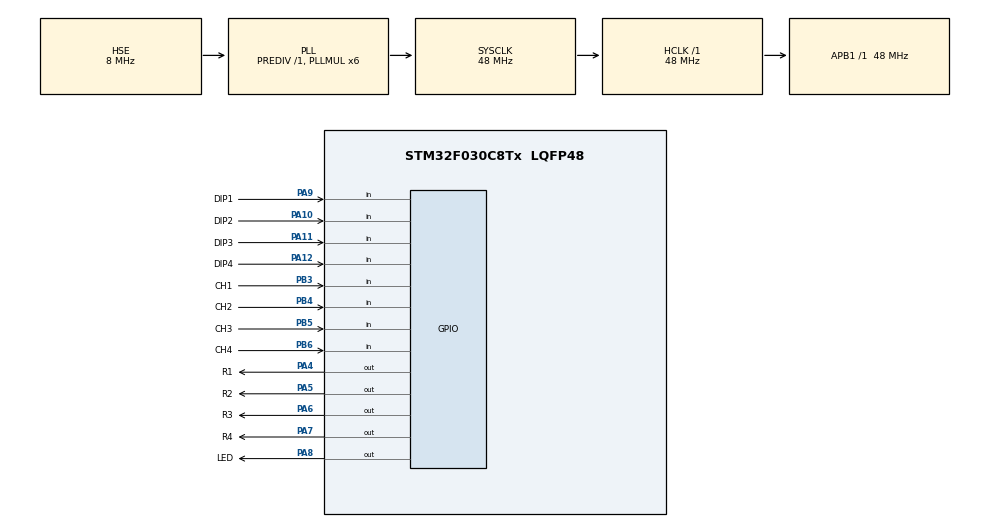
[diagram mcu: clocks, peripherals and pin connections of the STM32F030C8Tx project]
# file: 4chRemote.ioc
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IWDG.Prescaler=IWDG_PRESCALER_128
IWDG.Reload=1561
IWDG.Window=2500
Mcu.Family=STM32F0
Mcu.Name=STM32F030C8Tx
Mcu.Package=LQFP48
NVIC.TIM1_BRK_UP_TRG_COM_IRQn=true\:0\:0\:false\:false\:true\:true\:true\:true
PA10.GPIO_Label=DIP2
PA10.GPIO_PuPd=GPIO_PULLUP
PA10.Signal=GPIO_Input
PA11.GPIO_Label=DIP3
PA11.GPIO_PuPd=GPIO_PULLUP
PA11.Signal=GPIO_Input
PA12.GPIO_Label=DIP4
PA12.GPIO_PuPd=GPIO_PULLUP
PA12.Signal=GPIO_Input
PA13.Mode=Serial_Wire
PA13.Signal=SYS_SWDIO
PA14.Mode=Serial_Wire
PA14.Signal=SYS_SWCLK
PA4.GPIO_Label=R1
PA4.Signal=GPIO_Output
PA5.GPIO_Label=R2
PA5.Signal=GPIO_Output
PA6.GPIO_Label=R3
PA6.Signal=GPIO_Output
PA7.GPIO_Label=R4
PA7.Signal=GPIO_Output
PA8.GPIO_Label=LED
PA8.Signal=GPIO_Output
PA9.GPIO_Label=DIP1
PA9.GPIO_PuPd=GPIO_PULLUP
PA9.Signal=GPIO_Input
PB3.GPIO_Label=CH1
PB3.Signal=GPIO_Input
PB4.GPIO_Label=CH2
PB4.Signal=GPIO_Input
PB5.GPIO_Label=CH3
PB5.Signal=GPIO_Input
PB6.GPIO_Label=CH4
PB6.Signal=GPIO_Input
PF0-OSC_IN.Mode=HSE-External-Oscillator
PF0-OSC_IN.Signal=RCC_OSC_IN
PF1-OSC_OUT.Mode=HSE-External-Oscillator
PF1-OSC_OUT.Signal=RCC_OSC_OUT
ProjectManager.HeapSize=0x200
ProjectManager.StackSize=0x400
ProjectManager.TargetToolchain=STM32CubeIDE
RCC.AHBFreq_Value=48000000
RCC.APB1Freq_Value=48000000
RCC.APB1TimFreq_Value=48000000
RCC.HCLKFreq_Value=48000000
RCC.PLLMUL=RCC_PLL_MUL6
RCC.PLLSourceVirtual=RCC_PLLSOURCE_HSE
RCC.SYSCLKFreq_VALUE=48000000
RCC.SYSCLKSource=RCC_SYSCLKSOURCE_PLLCLK
TIM1.AutoReloadPreload=TIM_AUTORELOAD_PRELOAD_ENABLE
TIM1.Period=63999
TIM1.Prescaler=749
VP_IWDG_VS_IWDG.Mode=IWDG_Activate
VP_TIM1_VS_ClockSourceINT.Mode=Internal
board=custom

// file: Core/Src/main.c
/* USER CODE BEGIN Header */
/**
 ******************************************************************************
 * @file           : main.c
 * @brief          : Main program body
 ******************************************************************************
 * @attention
 *
 * Copyright (c) 2023 STMicroelectronics.
 * All rights reserved.
 *
 * This software is licensed under terms that can be found in the LICENSE file
 * in the root directory of this software component.
 * If no LICENSE file comes with this software, it is provided AS-IS.
 *
 ******************************************************************************
 */
/* USER CODE END Header */
#include "main.h"

IWDG_HandleTypeDef hiwdg;

TIM_HandleTypeDef htim1;

/* USER CODE BEGIN PV */
int on = 0;
int off = 1;
char lastMode = 16;
char timerStarted = 0;
int timerCounter = 0;
int delay = 0;
/* USER CODE END PV */

void SystemClock_Config(void);
static void MX_GPIO_Init(void);
static void MX_IWDG_Init(void);
static void MX_TIM1_Init(void);
/* USER CODE BEGIN PFP */
void mode0();
void mode1();
void mode2();
void mode3();
void mode4();
void mode5();
void mode6();
void mode7();
void mode8();
void mode9();
/* USER CODE END PFP */

int main(void)
{

  /* MCU Configuration--------------------------------------------------------*/

  /* Reset of all peripherals, Initializes the Flash interface and the Systick. */
  HAL_Init();

  /* Configure the system clock */
  SystemClock_Config();

  /* Initialize all configured peripherals */
  MX_GPIO_Init();
  MX_IWDG_Init();
  MX_TIM1_Init();
  /* USER CODE BEGIN 2 */
HAL_GPIO_WritePin(LED_GPIO_Port, LED_Pin, GPIO_PIN_SET);
HAL_Delay(500);
HAL_GPIO_WritePin(LED_GPIO_Port, LED_Pin, GPIO_PIN_RESET);
  /* USER CODE END 2 */

  /* Infinite loop */
	while (1) {

    /* USER CODE BEGIN 3 */
		HAL_IWDG_Refresh(&hiwdg);

		char Dip1 = !HAL_GPIO_ReadPin(DIP1_GPIO_Port, DIP1_Pin);
		char Dip2 = !HAL_GPIO_ReadPin(DIP2_GPIO_Port, DIP2_Pin);
		char Dip3 = !HAL_GPIO_ReadPin(DIP3_GPIO_Port, DIP3_Pin);
		char Dip4 = !HAL_GPIO_ReadPin(DIP4_GPIO_Port, DIP4_Pin);

		char mode = ((Dip1<<3) + (Dip2<<2) + (Dip3<<1) + Dip4);

		switch (mode) {
			case 0:
				mode0();
				break;

			case 1:
				mode1();
				break;

			case 2:
				mode2();
				break;

			case 3:
				mode3();
				break;

			case 4:
				mode4();
				break;

			case 5:
				mode5();
				break;

			case 6:
				mode6();
				break;

			case 7:
				mode7();
				break;

			case 8:
				mode8(); // timer modus lmp
				break;

			case 9:
				mode9(); // timer modus lmp
				break;
			default:
				mode0();
				break;
		}
	}
  /* USER CODE END 3 */
}

void SystemClock_Config(void)
{
  RCC_OscInitTypeDef RCC_OscInitStruct = {0};
  RCC_ClkInitTypeDef RCC_ClkInitStruct = {0};

  /** Initializes the RCC Oscillators according to the specified parameters
  * in the RCC_OscInitTypeDef structure.
  */
  RCC_OscInitStruct.OscillatorType = RCC_OSCILLATORTYPE_LSI|RCC_OSCILLATORTYPE_HSE;
  RCC_OscInitStruct.HSEState = RCC_HSE_ON;
  RCC_OscInitStruct.LSIState = RCC_LSI_ON;
  RCC_OscInitStruct.PLL.PLLState = RCC_PLL_ON;
  RCC_OscInitStruct.PLL.PLLSource = RCC_PLLSOURCE_HSE;
  RCC_OscInitStruct.PLL.PLLMUL = RCC_PLL_MUL6;
  RCC_OscInitStruct.PLL.PREDIV = RCC_PREDIV_DIV1;
  if (HAL_RCC_OscConfig(&RCC_OscInitStruct) != HAL_OK)
  {
    Error_Handler();
  }

  /** Initializes the CPU, AHB and APB buses clocks
  */
  RCC_ClkInitStruct.ClockType = RCC_CLOCKTYPE_HCLK|RCC_CLOCKTYPE_SYSCLK
                              |RCC_CLOCKTYPE_PCLK1;
  RCC_ClkInitStruct.SYSCLKSource = RCC_SYSCLKSOURCE_PLLCLK;
  RCC_ClkInitStruct.AHBCLKDivider = RCC_SYSCLK_DIV1;
  RCC_ClkInitStruct.APB1CLKDivider = RCC_HCLK_DIV1;

  if (HAL_RCC_ClockConfig(&RCC_ClkInitStruct, FLASH_LATENCY_1) != HAL_OK)
  {
    Error_Handler();
  }
}

static void MX_IWDG_Init(void)
{

  hiwdg.Instance = IWDG;
  hiwdg.Init.Prescaler = IWDG_PRESCALER_128;
  hiwdg.Init.Window = 2500;
  hiwdg.Init.Reload = 1561;
  if (HAL_IWDG_Init(&hiwdg) != HAL_OK)
  {
    Error_Handler();
  }

}

static void MX_TIM1_Init(void)
{

  TIM_ClockConfigTypeDef sClockSourceConfig = {0};
  TIM_MasterConfigTypeDef sMasterConfig = {0};

  htim1.Instance = TIM1;
  htim1.Init.Prescaler = 749;
  htim1.Init.CounterMode = TIM_COUNTERMODE_UP;
  htim1.Init.Period = 63999;
  htim1.Init.ClockDivision = TIM_CLOCKDIVISION_DIV1;
  htim1.Init.RepetitionCounter = 0;
  htim1.Init.AutoReloadPreload = TIM_AUTORELOAD_PRELOAD_ENABLE;
  if (HAL_TIM_Base_Init(&htim1) != HAL_OK)
  {
    Error_Handler();
  }
  sClockSourceConfig.ClockSource = TIM_CLOCKSOURCE_INTERNAL;
  if (HAL_TIM_ConfigClockSource(&htim1, &sClockSourceConfig) != HAL_OK)
  {
    Error_Handler();
  }
  sMasterConfig.MasterOutputTrigger = TIM_TRGO_RESET;
  sMasterConfig.MasterSlaveMode = TIM_MASTERSLAVEMODE_DISABLE;
  if (HAL_TIMEx_MasterConfigSynchronization(&htim1, &sMasterConfig) != HAL_OK)
  {
    Error_Handler();
  }

}

static void MX_GPIO_Init(void)
{
  GPIO_InitTypeDef GPIO_InitStruct = {0};

  /* GPIO Ports Clock Enable */
  __HAL_RCC_GPIOF_CLK_ENABLE();
  __HAL_RCC_GPIOA_CLK_ENABLE();
  __HAL_RCC_GPIOB_CLK_ENABLE();

  /*Configure GPIO pin Output Level */
  HAL_GPIO_WritePin(GPIOA, R1_Pin|R2_Pin|R3_Pin|R4_Pin
                          |LED_Pin, GPIO_PIN_RESET);

  /*Configure GPIO pins : R1_Pin R2_Pin R3_Pin R4_Pin
                           LED_Pin */
  GPIO_InitStruct.Pin = R1_Pin|R2_Pin|R3_Pin|R4_Pin
                          |LED_Pin;
  GPIO_InitStruct.Mode = GPIO_MODE_OUTPUT_PP;
  GPIO_InitStruct.Pull = GPIO_NOPULL;
  GPIO_InitStruct.Speed = GPIO_SPEED_FREQ_LOW;
  HAL_GPIO_Init(GPIOA, &GPIO_InitStruct);

  /*Configure GPIO pins : DIP1_Pin DIP2_Pin DIP3_Pin DIP4_Pin */
  GPIO_InitStruct.Pin = DIP1_Pin|DIP2_Pin|DIP3_Pin|DIP4_Pin;
  GPIO_InitStruct.Mode = GPIO_MODE_INPUT;
  GPIO_InitStruct.Pull = GPIO_PULLUP;
  HAL_GPIO_Init(GPIOA, &GPIO_InitStruct);

  /*Configure GPIO pins : CH1_Pin CH2_Pin CH3_Pin CH4_Pin */
  GPIO_InitStruct.Pin = CH1_Pin|CH2_Pin|CH3_Pin|CH4_Pin;
  GPIO_InitStruct.Mode = GPIO_MODE_INPUT;
  GPIO_InitStruct.Pull = GPIO_NOPULL;
  HAL_GPIO_Init(GPIOB, &GPIO_InitStruct);

}

/* USER CODE BEGIN 4 */
void mode0() {

	HAL_GPIO_WritePin(R1_GPIO_Port, R1_Pin,
			HAL_GPIO_ReadPin(CH1_GPIO_Port, CH1_Pin));

	HAL_GPIO_WritePin(R2_GPIO_Port, R2_Pin,
			HAL_GPIO_ReadPin(CH2_GPIO_Port, CH2_Pin));

	HAL_GPIO_WritePin(R3_GPIO_Port, R3_Pin,
			HAL_GPIO_ReadPin(CH3_GPIO_Port, CH3_Pin));

	HAL_GPIO_WritePin(R4_GPIO_Port, R4_Pin,
			HAL_GPIO_ReadPin(CH4_GPIO_Port, CH4_Pin));

}

void mode1() {

	if (lastMode != 1) {
		HAL_GPIO_WritePin(R4_GPIO_Port, R4_Pin, GPIO_PIN_RESET);
	lastMode = 1;
	}

	HAL_GPIO_WritePin(R1_GPIO_Port, R1_Pin,
			HAL_GPIO_ReadPin(CH1_GPIO_Port, CH1_Pin));

	HAL_GPIO_WritePin(R2_GPIO_Port, R2_Pin,
			HAL_GPIO_ReadPin(CH2_GPIO_Port, CH2_Pin));

	HAL_GPIO_WritePin(R3_GPIO_Port, R3_Pin,
			HAL_GPIO_ReadPin(CH3_GPIO_Port, CH3_Pin));

	if (HAL_GPIO_ReadPin(CH4_GPIO_Port, CH4_Pin)) {
		HAL_GPIO_TogglePin(R4_GPIO_Port, R4_Pin);
		while (HAL_GPIO_ReadPin(CH4_GPIO_Port, CH4_Pin))
			;
		HAL_Delay(100);
	}

}

void mode2(){

	if (lastMode != 2) {
		HAL_GPIO_WritePin(R3_GPIO_Port, R3_Pin, GPIO_PIN_RESET);
		HAL_GPIO_WritePin(R4_GPIO_Port, R4_Pin, GPIO_PIN_RESET);
	lastMode = 2;
	}

	HAL_GPIO_WritePin(R1_GPIO_Port, R1_Pin,
			HAL_GPIO_ReadPin(CH1_GPIO_Port, CH1_Pin));

	HAL_GPIO_WritePin(R2_GPIO_Port, R2_Pin,
			HAL_GPIO_ReadPin(CH2_GPIO_Port, CH2_Pin));

	if (HAL_GPIO_ReadPin(CH3_GPIO_Port, CH3_Pin)) {
		HAL_GPIO_TogglePin(R3_GPIO_Port, R3_Pin);
		while (HAL_GPIO_ReadPin(CH3_GPIO_Port, CH3_Pin))
			;
		HAL_Delay(100);
	}

	if (HAL_GPIO_ReadPin(CH4_GPIO_Port, CH4_Pin)) {
		HAL_GPIO_TogglePin(R4_GPIO_Port, R4_Pin);
		while (HAL_GPIO_ReadPin(CH4_GPIO_Port, CH4_Pin))
			;
		HAL_Delay(100);
	}

}

void mode3(){

	if (lastMode != 3) {
		HAL_GPIO_WritePin(R2_GPIO_Port, R2_Pin, GPIO_PIN_RESET);
		HAL_GPIO_WritePin(R3_GPIO_Port, R3_Pin, GPIO_PIN_RESET);
		HAL_GPIO_WritePin(R4_GPIO_Port, R4_Pin, GPIO_PIN_RESET);
	lastMode = 3;
	}

	HAL_GPIO_WritePin(R1_GPIO_Port, R1_Pin,
			HAL_GPIO_ReadPin(CH1_GPIO_Port, CH1_Pin));

	if (HAL_GPIO_ReadPin(CH2_GPIO_Port, CH2_Pin)) {
		HAL_GPIO_TogglePin(R2_GPIO_Port, R2_Pin);
		while (HAL_GPIO_ReadPin(CH2_GPIO_Port, CH2_Pin))
			;
		HAL_Delay(100);
	}

	if (HAL_GPIO_ReadPin(CH3_GPIO_Port, CH3_Pin)) {
		HAL_GPIO_TogglePin(R3_GPIO_Port, R3_Pin);
		while (HAL_GPIO_ReadPin(CH3_GPIO_Port, CH3_Pin))
			;
		HAL_Delay(100);
	}

	if (HAL_GPIO_ReadPin(CH4_GPIO_Port, CH4_Pin)) {
		HAL_GPIO_TogglePin(R4_GPIO_Port, R4_Pin);
		while (HAL_GPIO_ReadPin(CH4_GPIO_Port, CH4_Pin))
			;
		HAL_Delay(100);
	}
}

void mode4(){

	if (lastMode != 4) {
		HAL_GPIO_WritePin(R1_GPIO_Port, R1_Pin, GPIO_PIN_RESET);
		HAL_GPIO_WritePin(R2_GPIO_Port, R2_Pin, GPIO_PIN_RESET);
		HAL_GPIO_WritePin(R3_GPIO_Port, R3_Pin, GPIO_PIN_RESET);
		HAL_GPIO_WritePin(R4_GPIO_Port, R4_Pin, GPIO_PIN_RESET);
	lastMode = 4;
	}

	if (HAL_GPIO_ReadPin(CH1_GPIO_Port, CH1_Pin)) {
		HAL_GPIO_TogglePin(R1_GPIO_Port, R1_Pin);
		while (HAL_GPIO_ReadPin(CH1_GPIO_Port, CH1_Pin))
			;
		HAL_Delay(100);
	}

	if (HAL_GPIO_ReadPin(CH2_GPIO_Port, CH2_Pin)) {
		HAL_GPIO_TogglePin(R2_GPIO_Port, R2_Pin);
		while (HAL_GPIO_ReadPin(CH2_GPIO_Port, CH2_Pin))
			;
		HAL_Delay(100);
	}

	if (HAL_GPIO_ReadPin(CH3_GPIO_Port, CH3_Pin)) {
		HAL_GPIO_TogglePin(R3_GPIO_Port, R3_Pin);
		while (HAL_GPIO_ReadPin(CH3_GPIO_Port, CH3_Pin))
			;
		HAL_Delay(100);
	}

	if (HAL_GPIO_ReadPin(CH4_GPIO_Port, CH4_Pin)) {
		HAL_GPIO_TogglePin(R4_GPIO_Port, R4_Pin);
		while (HAL_GPIO_ReadPin(CH4_GPIO_Port, CH4_Pin))
			;
		HAL_Delay(100);
	}
}

void mode5(){

	if (lastMode != 5) {
	HAL_GPIO_WritePin(R3_GPIO_Port, R3_Pin, GPIO_PIN_RESET);
	HAL_GPIO_WritePin(R4_GPIO_Port, R4_Pin, GPIO_PIN_SET);
	lastMode = 5;
	}

	HAL_GPIO_WritePin(R1_GPIO_Port, R1_Pin,
			HAL_GPIO_ReadPin(CH1_GPIO_Port, CH1_Pin));

	HAL_GPIO_WritePin(R2_GPIO_Port, R2_Pin,
			HAL_GPIO_ReadPin(CH2_GPIO_Port, CH2_Pin));

	if (HAL_GPIO_ReadPin(CH3_GPIO_Port, CH3_Pin)) {
		HAL_GPIO_TogglePin(R3_GPIO_Port, R3_Pin);
		while (HAL_GPIO_ReadPin(CH3_GPIO_Port, CH3_Pin))
			;
		HAL_Delay(100);
	}

	if (HAL_GPIO_ReadPin(CH4_GPIO_Port, CH4_Pin)) {
		HAL_GPIO_TogglePin(R4_GPIO_Port, R4_Pin);
		while (HAL_GPIO_ReadPin(CH4_GPIO_Port, CH4_Pin))
			;
		HAL_Delay(100);
	}

}

void mode6(){

	if (lastMode != 6) {
	HAL_GPIO_WritePin(R3_GPIO_Port, R3_Pin, GPIO_PIN_SET);
	HAL_GPIO_WritePin(R4_GPIO_Port, R4_Pin, GPIO_PIN_SET);
	lastMode = 6;
	}

	HAL_GPIO_WritePin(R1_GPIO_Port, R1_Pin,
			HAL_GPIO_ReadPin(CH1_GPIO_Port, CH1_Pin));

	HAL_GPIO_WritePin(R2_GPIO_Port, R2_Pin,
			HAL_GPIO_ReadPin(CH2_GPIO_Port, CH2_Pin));

	if (HAL_GPIO_ReadPin(CH3_GPIO_Port, CH3_Pin)) {
		HAL_GPIO_TogglePin(R3_GPIO_Port, R3_Pin);
		while (HAL_GPIO_ReadPin(CH3_GPIO_Port, CH3_Pin))
			;
		HAL_Delay(100);
	}

	if (HAL_GPIO_ReadPin(CH4_GPIO_Port, CH4_Pin)) {
		HAL_GPIO_TogglePin(R4_GPIO_Port, R4_Pin);
		while (HAL_GPIO_ReadPin(CH4_GPIO_Port, CH4_Pin))
			;
		HAL_Delay(100);
	}

}

void mode7(){

	if (lastMode != 7) {
	HAL_GPIO_WritePin(R1_GPIO_Port, R1_Pin, GPIO_PIN_SET);
	HAL_GPIO_WritePin(R2_GPIO_Port, R2_Pin, GPIO_PIN_SET);
	HAL_GPIO_WritePin(R3_GPIO_Port, R3_Pin, GPIO_PIN_SET);
	HAL_GPIO_WritePin(R4_GPIO_Port, R4_Pin, GPIO_PIN_SET);
	lastMode = 7;
	}

	if (HAL_GPIO_ReadPin(CH1_GPIO_Port, CH1_Pin)) {
		HAL_GPIO_TogglePin(R1_GPIO_Port, R1_Pin);
		while (HAL_GPIO_ReadPin(CH1_GPIO_Port, CH1_Pin))
			;
		HAL_Delay(100);
	}

	if (HAL_GPIO_ReadPin(CH2_GPIO_Port, CH2_Pin)) {
		HAL_GPIO_TogglePin(R2_GPIO_Port, R2_Pin);
		while (HAL_GPIO_ReadPin(CH2_GPIO_Port, CH2_Pin))
			;
		HAL_Delay(100);
	}

	if (HAL_GPIO_ReadPin(CH3_GPIO_Port, CH3_Pin)) {
		HAL_GPIO_TogglePin(R3_GPIO_Port, R3_Pin);
		while (HAL_GPIO_ReadPin(CH3_GPIO_Port, CH3_Pin))
			;
		HAL_Delay(100);
	}

	if (HAL_GPIO_ReadPin(CH4_GPIO_Port, CH4_Pin)) {
		HAL_GPIO_TogglePin(R4_GPIO_Port, R4_Pin);
		while (HAL_GPIO_ReadPin(CH4_GPIO_Port, CH4_Pin))
			;
		HAL_Delay(100);
	}

}

void mode8(){

	if (lastMode != 8) {
		HAL_GPIO_WritePin(R1_GPIO_Port, R1_Pin, GPIO_PIN_RESET);
		HAL_GPIO_WritePin(R2_GPIO_Port, R2_Pin, GPIO_PIN_RESET);
		HAL_GPIO_WritePin(R3_GPIO_Port, R3_Pin, GPIO_PIN_RESET);
		HAL_GPIO_WritePin(R4_GPIO_Port, R4_Pin, GPIO_PIN_RESET);
	lastMode = 8;
	}

	HAL_GPIO_WritePin(R1_GPIO_Port, R1_Pin,
			HAL_GPIO_ReadPin(CH1_GPIO_Port, CH1_Pin));

	if (HAL_GPIO_ReadPin(CH1_GPIO_Port, CH1_Pin)) {

		HAL_TIM_Base_Stop_IT(&htim1);
		HAL_TIM_Base_Stop(&htim1);

		timerStarted = 0;
		timerCounter = 0;

		HAL_GPIO_WritePin(R2_GPIO_Port, R2_Pin, GPIO_PIN_RESET);

	}

	if (HAL_GPIO_ReadPin(CH2_GPIO_Port, CH2_Pin)) {
		if (!timerStarted) {

			TIM1->CNT = 0;
			timerStarted = 1;
			timerCounter = 0;
			delay = 210;
			HAL_TIM_Base_Start_IT(&htim1);
			HAL_GPIO_WritePin(R2_GPIO_Port, R2_Pin, GPIO_PIN_SET);

		} else {
			HAL_TIM_Base_Stop_IT(&htim1);
			HAL_TIM_Base_Stop(&htim1);

			timerStarted = 0;
			timerCounter = 0;

			HAL_GPIO_WritePin(R2_GPIO_Port, R2_Pin, GPIO_PIN_RESET);

		}
		while (HAL_GPIO_ReadPin(CH2_GPIO_Port, CH2_Pin));

	}

	if (HAL_GPIO_ReadPin(CH3_GPIO_Port, CH3_Pin)) {
		HAL_GPIO_TogglePin(R3_GPIO_Port, R3_Pin);
		while (HAL_GPIO_ReadPin(CH3_GPIO_Port, CH3_Pin))
			;
		HAL_Delay(100);
	}

	if (HAL_GPIO_ReadPin(CH4_GPIO_Port, CH4_Pin)) {
		HAL_GPIO_TogglePin(R4_GPIO_Port, R4_Pin);
		while (HAL_GPIO_ReadPin(CH4_GPIO_Port, CH4_Pin))
			;
		HAL_Delay(100);
	}

}

void mode9(){

	if (lastMode != 9) {
		HAL_GPIO_WritePin(R1_GPIO_Port, R1_Pin, GPIO_PIN_RESET);
		HAL_GPIO_WritePin(R2_GPIO_Port, R2_Pin, GPIO_PIN_RESET);
		HAL_GPIO_WritePin(R3_GPIO_Port, R3_Pin, GPIO_PIN_RESET);
		HAL_GPIO_WritePin(R4_GPIO_Port, R4_Pin, GPIO_PIN_RESET);
	lastMode = 9;
	}

	HAL_GPIO_WritePin(R1_GPIO_Port, R1_Pin,
			HAL_GPIO_ReadPin(CH1_GPIO_Port, CH1_Pin));

	if (HAL_GPIO_ReadPin(CH1_GPIO_Port, CH1_Pin)) {

		HAL_TIM_Base_Stop_IT(&htim1);
		HAL_TIM_Base_Stop(&htim1);

		timerStarted = 0;
		timerCounter = 0;

		HAL_GPIO_WritePin(R2_GPIO_Port, R2_Pin, GPIO_PIN_RESET);

	}

	if (HAL_GPIO_ReadPin(CH2_GPIO_Port, CH2_Pin)) {

		if (!timerStarted) {
			TIM1->CNT = 0;
			timerStarted = 1;
			timerCounter = 0;
			delay = 210;
			HAL_TIM_Base_Start_IT(&htim1);
			HAL_GPIO_WritePin(R2_GPIO_Port, R2_Pin, GPIO_PIN_SET);

		}else {
			HAL_TIM_Base_Stop_IT(&htim1);
			HAL_TIM_Base_Stop(&htim1);

			timerStarted = 0;
			timerCounter = 0;

			HAL_GPIO_WritePin(R2_GPIO_Port, R2_Pin, GPIO_PIN_RESET);

	}
		while(HAL_GPIO_ReadPin(CH2_GPIO_Port, CH2_Pin)){
			HAL_IWDG_Refresh(&hiwdg);
		}
	}

	if (!HAL_GPIO_ReadPin(CH2_GPIO_Port, CH2_Pin) && timerStarted){

		if (timerCounter < 7) {
			HAL_TIM_Base_Stop_IT(&htim1);
			HAL_TIM_Base_Stop(&htim1);

			timerStarted = 0;
			timerCounter = 0;
			TIM1->CNT = 0;

			HAL_GPIO_WritePin(R2_GPIO_Port, R2_Pin, GPIO_PIN_RESET);

		}

	}

	if (HAL_GPIO_ReadPin(CH3_GPIO_Port, CH3_Pin)) {
		HAL_GPIO_TogglePin(R3_GPIO_Port, R3_Pin);
		while (HAL_GPIO_ReadPin(CH3_GPIO_Port, CH3_Pin)){
			HAL_IWDG_Refresh(&hiwdg);
		}

		HAL_Delay(100);
	}

	if (HAL_GPIO_ReadPin(CH4_GPIO_Port, CH4_Pin)) {
		HAL_GPIO_TogglePin(R4_GPIO_Port, R4_Pin);
		while (HAL_GPIO_ReadPin(CH4_GPIO_Port, CH4_Pin)){
			HAL_IWDG_Refresh(&hiwdg);
		}

		HAL_Delay(100);
	}

}

// Callback: timer has rolled over
void HAL_TIM_PeriodElapsedCallback(TIM_HandleTypeDef *htim)
{
  // Check which version of the timer triggered this callback and toggle LED
  if (htim == &htim1 )
  {
   timerCounter++;

   if (timerCounter == delay) {

	HAL_TIM_Base_Stop_IT(&htim1);
	HAL_TIM_Base_Stop(&htim1);

	timerStarted = 0;

	HAL_GPIO_WritePin(R2_GPIO_Port, R2_Pin, GPIO_PIN_RESET);
}

  }
}

/* USER CODE END 4 */

void Error_Handler(void)
{
	__disable_irq();
	while (1) {
	}
}
